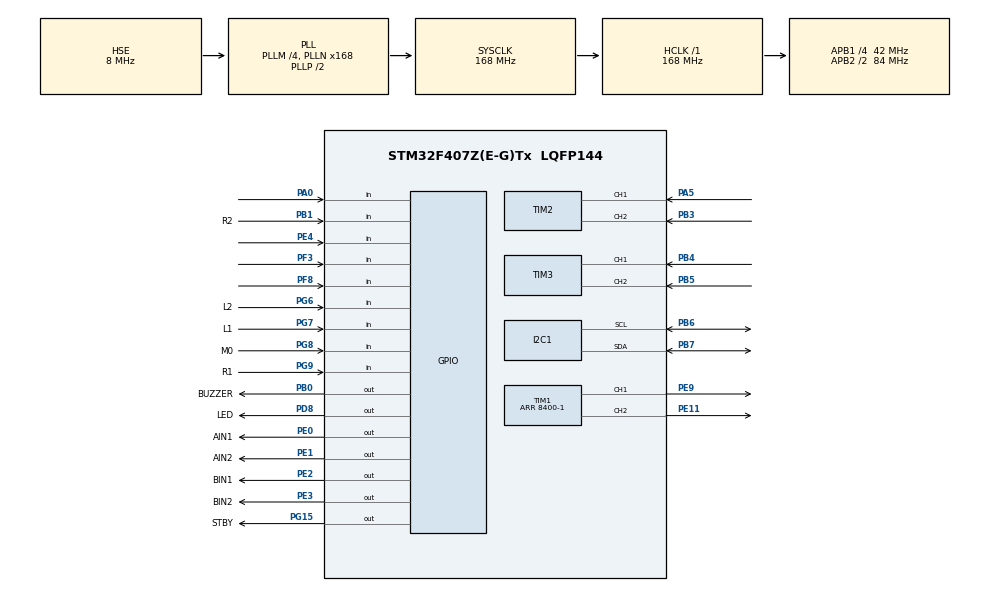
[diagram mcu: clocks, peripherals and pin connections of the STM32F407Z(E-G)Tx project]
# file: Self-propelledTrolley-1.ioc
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Mcu.Family=STM32F4
Mcu.Name=STM32F407Z(E-G)Tx
Mcu.Package=LQFP144
NVIC.PriorityGroup=NVIC_PRIORITYGROUP_4
NVIC.TIM6_DAC_IRQn=true\:0\:0\:false\:false\:true\:true\:true\:true
NVIC.TIM7_IRQn=true\:0\:0\:false\:false\:true\:true\:true\:true
PA0-WKUP.GPIO_Mode=GPIO_MODE_INPUT
PA0-WKUP.GPIO_PuPd=GPIO_PULLDOWN
PA0-WKUP.Signal=GPIO_Input
PA13.Mode=Serial_Wire
PA13.Signal=SYS_JTMS-SWDIO
PA14.Mode=Serial_Wire
PA14.Signal=SYS_JTCK-SWCLK
PA5.Signal=S_TIM2_CH1_ETR
PB0.GPIO_Label=BUZZER
PB0.GPIO_PuPd=GPIO_PULLDOWN
PB0.GPIO_Speed=GPIO_SPEED_FREQ_HIGH
PB0.Signal=GPIO_Output
PB1.GPIO_Label=R2
PB1.GPIO_Mode=GPIO_MODE_INPUT
PB1.GPIO_PuPd=GPIO_NOPULL
PB1.Signal=GPIO_Input
PB3.Signal=S_TIM2_CH2
PB4.Signal=S_TIM3_CH1
PB5.Signal=S_TIM3_CH2
PB6.Mode=I2C
PB6.Signal=I2C1_SCL
PB7.Mode=I2C
PB7.Signal=I2C1_SDA
PC14-OSC32_IN.Mode=LSE-External-Oscillator
PC14-OSC32_IN.Signal=RCC_OSC32_IN
PC15-OSC32_OUT.Mode=LSE-External-Oscillator
PC15-OSC32_OUT.Signal=RCC_OSC32_OUT
PD8.GPIO_Label=LED
PD8.GPIO_PuPd=GPIO_PULLUP
PD8.GPIO_Speed=GPIO_SPEED_FREQ_HIGH
PD8.PinState=GPIO_PIN_SET
PD8.Signal=GPIO_Output
PE0.GPIO_Label=AIN1
PE0.GPIO_PuPd=GPIO_NOPULL
PE0.GPIO_Speed=GPIO_SPEED_FREQ_HIGH
PE0.PinState=GPIO_PIN_RESET
PE0.Signal=GPIO_Output
PE1.GPIO_Label=AIN2
PE1.GPIO_PuPd=GPIO_NOPULL
PE1.GPIO_Speed=GPIO_SPEED_FREQ_HIGH
PE1.PinState=GPIO_PIN_RESET
PE1.Signal=GPIO_Output
PE11.Signal=S_TIM1_CH2
PE2.GPIO_Label=BIN1
PE2.GPIO_PuPd=GPIO_NOPULL
PE2.GPIO_Speed=GPIO_SPEED_FREQ_HIGH
PE2.PinState=GPIO_PIN_RESET
PE2.Signal=GPIO_Output
PE3.GPIO_Label=BIN2
PE3.GPIO_PuPd=GPIO_NOPULL
PE3.GPIO_Speed=GPIO_SPEED_FREQ_HIGH
PE3.PinState=GPIO_PIN_RESET
PE3.Signal=GPIO_Output
PE4.GPIO_Mode=GPIO_MODE_INPUT
PE4.GPIO_PuPd=GPIO_PULLDOWN
PE4.Signal=GPIO_Input
PE9.Signal=S_TIM1_CH1
PF3.GPIO_Mode=GPIO_MODE_INPUT
PF3.GPIO_PuPd=GPIO_PULLDOWN
PF3.Signal=GPIO_Input
PF8.GPIO_Mode=GPIO_MODE_INPUT
PF8.GPIO_PuPd=GPIO_PULLDOWN
PF8.Signal=GPIO_Input
PG15.GPIO_Label=STBY
PG15.GPIO_PuPd=GPIO_NOPULL
PG15.GPIO_Speed=GPIO_SPEED_FREQ_HIGH
PG15.PinState=GPIO_PIN_SET
PG15.Signal=GPIO_Output
PG6.GPIO_Label=L2
PG6.GPIO_Mode=GPIO_MODE_INPUT
PG6.GPIO_PuPd=GPIO_NOPULL
PG6.Signal=GPIO_Input
PG7.GPIO_Label=L1
PG7.GPIO_Mode=GPIO_MODE_INPUT
PG7.GPIO_PuPd=GPIO_NOPULL
PG7.Signal=GPIO_Input
PG8.GPIO_Label=M0
PG8.GPIO_Mode=GPIO_MODE_INPUT
PG8.GPIO_PuPd=GPIO_NOPULL
PG8.Signal=GPIO_Input
PG9.GPIO_Label=R1
PG9.GPIO_Mode=GPIO_MODE_INPUT
PG9.GPIO_PuPd=GPIO_PULLDOWN
PG9.Signal=GPIO_Input
PH0-OSC_IN.Mode=HSE-External-Oscillator
PH0-OSC_IN.Signal=RCC_OSC_IN
PH1-OSC_OUT.Mode=HSE-External-Oscillator
PH1-OSC_OUT.Signal=RCC_OSC_OUT
ProjectManager.HeapSize=0x200
ProjectManager.StackSize=0x400
ProjectManager.TargetToolchain=MDK-ARM V5.32
RCC.48MHZClocksFreq_Value=84000000
RCC.AHBFreq_Value=168000000
RCC.APB1CLKDivider=RCC_HCLK_DIV4
RCC.APB1Freq_Value=42000000
RCC.APB1TimFreq_Value=84000000
RCC.APB2CLKDivider=RCC_HCLK_DIV2
RCC.APB2Freq_Value=84000000
RCC.APB2TimFreq_Value=168000000
RCC.CortexFreq_Value=168000000
RCC.HCLKFreq_Value=168000000
RCC.HSE_VALUE=8000000
RCC.HSI_VALUE=16000000
RCC.PLLM=4
RCC.PLLN=168
RCC.PLLSourceVirtual=RCC_PLLSOURCE_HSE
RCC.SYSCLKFreq_VALUE=168000000
RCC.SYSCLKSource=RCC_SYSCLKSOURCE_PLLCLK
RCC.VCOOutputFreq_Value=336000000
SH.S_TIM1_CH1.0=TIM1_CH1,PWM Generation1 CH1
SH.S_TIM1_CH2.0=TIM1_CH2,PWM Generation2 CH2
SH.S_TIM2_CH1_ETR.0=TIM2_CH1,Encoder_Interface
SH.S_TIM2_CH2.0=TIM2_CH2,Encoder_Interface
SH.S_TIM3_CH1.0=TIM3_CH1,Encoder_Interface
SH.S_TIM3_CH2.0=TIM3_CH2,Encoder_Interface
TIM1.Channel-PWM\ Generation1\ CH1=TIM_CHANNEL_1
TIM1.Channel-PWM\ Generation2\ CH2=TIM_CHANNEL_2
TIM1.Period=8400-1
TIM2.EncoderMode=TIM_ENCODERMODE_TI12
TIM3.EncoderMode=TIM_ENCODERMODE_TI12
TIM6.AutoReloadPreload=TIM_AUTORELOAD_PRELOAD_ENABLE
TIM6.Period=10000-1
TIM6.Prescaler=84-1
TIM7.AutoReloadPreload=TIM_AUTORELOAD_PRELOAD_ENABLE
TIM7.Period=10000-1
TIM7.Prescaler=84-1
VP_TIM1_VS_ClockSourceINT.Mode=Internal
VP_TIM6_VS_ClockSourceINT.Mode=Enable_Timer
VP_TIM7_VS_ClockSourceINT.Mode=Enable_Timer
board=custom

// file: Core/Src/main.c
/* USER CODE BEGIN Header */
/**
  ******************************************************************************
  * @file           : main.c
  * @brief          : Main program body
  ******************************************************************************
  * @attention
  *
  * Copyright (c) 2024 STMicroelectronics.
  * All rights reserved.
  *
  * This software is licensed under terms that can be found in the LICENSE file
  * in the root directory of this software component.
  * If no LICENSE file comes with this software, it is provided AS-IS.
  *
  ******************************************************************************
  */
/* USER CODE END Header */
#include "main.h"
#include "i2c.h"
#include "tim.h"
#include "gpio.h"

/* USER CODE BEGIN PV */
bool alarm_flag = 0;
bool Double_pid = 0, Position_pid = 0, Velocity_pid = 0;

uint8_t task[5];
uint8_t task4_cnt = 0;
/* USER CODE END PV */

void SystemClock_Config(void);

/* USER CODE BEGIN 0 */
void Peripheral_Init(void)
{
    LED_OFF;
    Buzzer_OFF;

    MotorStart;

    OLED_Init();

    HAL_TIM_Base_Start_IT(&htim6);                  // 10ms -- 电机PID
    HAL_TIM_Base_Start_IT(&htim7);                  // 10ms

    HAL_TIM_PWM_Start(&htim1, TIM_CHANNEL_1);       // PWMA
    HAL_TIM_PWM_Start(&htim1, TIM_CHANNEL_2);       // PWMB

    HAL_TIM_Encoder_Start(&htim2, TIM_CHANNEL_1);   // A_A
    HAL_TIM_Encoder_Start(&htim2, TIM_CHANNEL_2);   // A_B
    HAL_TIM_Encoder_Start(&htim3, TIM_CHANNEL_1);   // B_A
    HAL_TIM_Encoder_Start(&htim3, TIM_CHANNEL_2);   // B_B
}
void alarm_proc(void)
{
    if (alarm_flag)
    {
        LED_ON;
        Buzzer_ON;
    }
    else
    {
        LED_OFF;
        Buzzer_OFF;
    }
}
void key_proc(void)
{
    if (key[1].short_flag)
    {
        task[1] = 1;
        key[1].short_flag = 0;
    }
    else if (key[2].short_flag)
    {
        task[2] = 1;
        key[2].short_flag = 0;
    }
    else if (key[3].short_flag)
    {
        task[3] = 1;
        key[3].short_flag = 0;
    }
    else if (key[4].short_flag)
    {
        task[4] = 1;
        key[4].short_flag = 0;
    }
}
void function_proc(void)
{
    switch (task[1])
    {
        case 1:
        {
            Velocity_pid = 1;
            Target_VelocityR = Rpm_Encoder_Cnt(80);
            Target_VelocityL = Rpm_Encoder_Cnt(80);
            if (L2||L1||M0||R1||R2)
                task[1] = 2;
        }break;
        case 2:
        {
            Velocity_pid = 0;
            MotorStop;
            alarm_flag = 1;
            task[1] = 0;
        }break;
    }
    switch (task[2])
    {
        case 1:
        {
            Velocity_pid = 1;
            Target_VelocityR = Rpm_Encoder_Cnt(80);
            Target_VelocityL = Rpm_Encoder_Cnt(80);
            if (L2||L1||M0||R1||R2)
                task[2] = 2;
        }break;
        case 2:
        {
            MotorStop;
            alarm_flag = 1;
            Velocity_pid = 0;
            task[2] = 3;
        }break;
        case 3:
        {
            MotorStart;
            Double_pid = 1;
            Target_VelocityR = Rpm_Encoder_Cnt(67.6);
            Target_VelocityL = Rpm_Encoder_Cnt(91.4);
            Target_PositionR = Num_Encoder_Cnt(5.2);
            Target_PositionL = Num_Encoder_Cnt(7.0);
            if (Reality_PositionR >= 291000)
                task[2] = 4;
        }break;
        case 4:
        {
            Double_pid = 0;
            MotorStop;
            task[2] = 5;
        }break;
        case 5:
        {
            alarm_flag = 1;
            task[2] = 6;
        }break;
        case 6:
        {
            MotorStart;
            Velocity_pid = 1;
            Target_VelocityR = Rpm_Encoder_Cnt(80);
            Target_VelocityL = Rpm_Encoder_Cnt(80);
            if (L2||L1||M0||R1||R2)
                task[2] = 7;
        }break;
        case 7:
        {
            Motor_Stop();
            alarm_flag = 1;
            Velocity_pid = 0;
            task[2] = 8;
        }break;
        case 8:
        {
            MotorStart;
            Double_pid = 1;
            Target_VelocityR = Rpm_Encoder_Cnt(67.6);
            Target_VelocityL = Rpm_Encoder_Cnt(91.4);
            Target_PositionR = Num_Encoder_Cnt(5.2);
            Target_PositionL = Num_Encoder_Cnt(7.0);
            if (Reality_PositionR >= 291000)
                task[2] = 9;
        }break;
        case 9:
        {
            Double_pid = 0;
            MotorStop;
            alarm_flag = 1;
            task[2] = 0;
        }break;
    }
    switch (task[3])
     {
        case 1:
        {
            LED_ON;
            Double_pid = 1;
            Target_PositionR = Num_Encoder_Cnt(28/20.41f);
            Target_PositionL = Num_Encoder_Cnt(28/20.41f);
            Target_VelocityR = Rpm_Encoder_Cnt(80);
            Target_VelocityL = Rpm_Encoder_Cnt(80);
            if (((Reality_PositionR + Reality_PositionL) / 2) >= (28/20.41f*56000))
            {
                Double_pid = 0;
                Motor_Stop();
                task[3] = 2;
            }
        }break;
        case 2:
        {
            LED_OFF;
            MotorStart;
            Double_pid = 1;
            Target_PositionR = Num_Encoder_Cnt(51.653f/20.41f);
            Target_PositionL = Num_Encoder_Cnt(73.947f/20.41f);
            Target_VelocityR = Rpm_Encoder_Cnt(65.8f);
            Target_VelocityL = Rpm_Encoder_Cnt(94.2f);
            if (Reality_PositionR >= (51.653f/20.41f*56000))
            {
                Double_pid = 0;
                Motor_Stop();
                task[3] = 3;
            }
        }break;
        case 3:
        {
            LED_ON;
            MotorStart;
            Double_pid = 1;
            Target_PositionR = Num_Encoder_Cnt(73.947f/20.41f);
            Target_PositionL = Num_Encoder_Cnt(51.653f/20.41f);
            Target_VelocityR = Rpm_Encoder_Cnt(94.2f);
            Target_VelocityL = Rpm_Encoder_Cnt(65.8f);
            if (Reality_PositionL >= (51.653f/20.41f*56000))
            {
                Double_pid = 0;
                Motor_Stop();
                task[3] = 4;
            }
        }break;
        case 4:
        {
            alarm_flag = 1;
            LED_OFF;
            MotorStart;
            Double_pid = 1;
            Target_VelocityR = Rpm_Encoder_Cnt(89.2f);
            Target_VelocityL = Rpm_Encoder_Cnt(65.8f);
            Target_PositionR = Num_Encoder_Cnt(140.894f/20.41f);
            Target_PositionL = Num_Encoder_Cnt(103.306f/20.41f);
            if (Reality_PositionR >= 384000 / 10)
                alarm_flag = 0;
            if ((Reality_PositionR >= 384000) && (Reality_PositionL >= 283000))
            {
                alarm_flag = 1;
                Double_pid = 0;
                Motor_Stop();
                task[3] = 5;
            }
        }break;
        case 5:
        {
            LED_ON;
            MotorStart;
            Double_pid = 1;
            Target_PositionR = Num_Encoder_Cnt(15/20.41f);
            Target_PositionL = Num_Encoder_Cnt(15/20.41f);
            Target_VelocityR = Rpm_Encoder_Cnt(80);
            Target_VelocityL = Rpm_Encoder_Cnt(80);
            if (((Reality_PositionR + Reality_PositionL) / 2) >= (15/20.41f*56000))
            {
                Double_pid = 0;
                OLED_ShowSignedNum(4, 1, Reality_PositionL, 10);
                Motor_Stop();
                task[3] = 6;
            }
        }break;
        case 6:
        {
            LED_OFF;
            MotorStart;
            Double_pid = 1;
            Target_PositionR = Num_Encoder_Cnt(69.947f/20.41f);
            Target_PositionL = Num_Encoder_Cnt(51.653f/20.41f);
            Target_VelocityR = Rpm_Encoder_Cnt(94.2f);
            Target_VelocityL = Rpm_Encoder_Cnt(65.8f);
            if (Reality_PositionL >= (51.653f/20.41f*56000))
            {
                Double_pid = 0;
                Motor_Stop();
                task[3] = 7;
            }
        }break;
        case 7:
        {
            LED_ON;
            MotorStart;
            Double_pid = 1;
            Target_PositionR = Num_Encoder_Cnt(53.653f/20.41f);
            Target_PositionL = Num_Encoder_Cnt(73.947f/20.41f);
            Target_VelocityR = Rpm_Encoder_Cnt(65.8f);
            Target_VelocityL = Rpm_Encoder_Cnt(94.2f);
            if (Reality_PositionR >= (53.653f/20.41f*56000))
            {
                alarm_flag = 1;
                Double_pid = 0;
                Motor_Stop();
                task[3] = 8;
            }
        }break;
        case 8:
        {
            MotorStart;
            Double_pid = 1;
            Target_VelocityR = Rpm_Encoder_Cnt(67.6);
            Target_VelocityL = Rpm_Encoder_Cnt(91.4);
            Target_PositionR = Num_Encoder_Cnt(5.2);
            Target_PositionL = Num_Encoder_Cnt(7.0);
            if (Reality_PositionR >= 291000)
                task[3] = 9;
        }break;
        case 9:
        {
            Double_pid = 0;
            MotorStop;
            alarm_flag = 1;
            task[3] = 0;
        }break;
    }
    switch (task[4])
    {
        case 1:
        {
            task4_cnt += 1;
            LED_ON;
            Double_pid = 1;
            Target_PositionR = Num_Encoder_Cnt(28/20.41f);
            Target_PositionL = Num_Encoder_Cnt(28/20.41f);
            Target_VelocityR = Rpm_Encoder_Cnt(80);
            Target_VelocityL = Rpm_Encoder_Cnt(80);
            if (((Reality_PositionR + Reality_PositionL) / 2) >= (28/20.41f*56000))
            {
                Double_pid = 0;
                Motor_Stop();
                task[4] = 2;
            }
        }break;
        case 2:
        {
            LED_OFF;
            MotorStart;
            Double_pid = 1;
            Target_PositionR = Num_Encoder_Cnt(51.653f/20.41f);
            Target_PositionL = Num_Encoder_Cnt(73.947f/20.41f);
            Target_VelocityR = Rpm_Encoder_Cnt(65.8f);
            Target_VelocityL = Rpm_Encoder_Cnt(94.2f);
            if (Reality_PositionR >= (51.653f/20.41f*56000))
            {
                Double_pid = 0;
                Motor_Stop();
                task[4] = 3;
            }
        }break;
        case 3:
        {
            LED_ON;
            MotorStart;
            Double_pid = 1;
            Target_PositionR = Num_Encoder_Cnt(73.947f/20.41f);
            Target_PositionL = Num_Encoder_Cnt(51.653f/20.41f);
            Target_VelocityR = Rpm_Encoder_Cnt(94.2f);
            Target_VelocityL = Rpm_Encoder_Cnt(65.8f);
            if (Reality_PositionL >= (51.653f/20.41f*56000))
            {
                Double_pid = 0;
                Motor_Stop();
                task[4] = 4;
            }
        }break;
        case 4:
        {
            alarm_flag = 1;
            LED_OFF;
            MotorStart;
            Double_pid = 1;
            Target_VelocityR = Rpm_Encoder_Cnt(89.2f);
            Target_VelocityL = Rpm_Encoder_Cnt(65.8f);
            Target_PositionR = Num_Encoder_Cnt(140.894f/20.41f);
            Target_PositionL = Num_Encoder_Cnt(103.306f/20.41f);
            if (Reality_PositionR >= 384000 / 10)
                alarm_flag = 0;
            if ((Reality_PositionR >= 384000) && (Reality_PositionL >= 283000))
            {
                alarm_flag = 1;
                Double_pid = 0;
                Motor_Stop();
                task[4] = 5;
            }
        }break;
        case 5:
        {
            LED_ON;
            MotorStart;
            Double_pid = 1;
            Target_PositionR = Num_Encoder_Cnt(15/20.41f);
            Target_PositionL = Num_Encoder_Cnt(15/20.41f);
            Target_VelocityR = Rpm_Encoder_Cnt(80);
            Target_VelocityL = Rpm_Encoder_Cnt(80);
            if (((Reality_PositionR + Reality_PositionL) / 2) >= (15/20.41f*56000))
            {
                Double_pid = 0;
                OLED_ShowSignedNum(4, 1, Reality_PositionL, 10);
                Motor_Stop();
                task[4] = 6;
            }
        }break;
        case 6:
        {
            LED_OFF;
            MotorStart;
            Double_pid = 1;
            Target_PositionR = Num_Encoder_Cnt(69.947f/20.41f);
            Target_PositionL = Num_Encoder_Cnt(51.653f/20.41f);
            Target_VelocityR = Rpm_Encoder_Cnt(94.2f);
            Target_VelocityL = Rpm_Encoder_Cnt(65.8f);
            if (Reality_PositionL >= (51.653f/20.41f*56000))
            {
                Double_pid = 0;
                Motor_Stop();
                task[4] = 7;
            }
        }break;
        case 7:
        {
            LED_ON;
            MotorStart;
            Double_pid = 1;
            Target_PositionR = Num_Encoder_Cnt(53.653f/20.41f);
            Target_PositionL = Num_Encoder_Cnt(73.947f/20.41f);
            Target_VelocityR = Rpm_Encoder_Cnt(65.8f);
            Target_VelocityL = Rpm_Encoder_Cnt(94.2f);
            if (Reality_PositionR >= (53.653f/20.41f*56000))
            {
                alarm_flag = 1;
                Double_pid = 0;
                Motor_Stop();
                task[4] = 8;
            }
        }break;
        case 8:
        {
            MotorStart;
            Double_pid = 1;
            Target_VelocityR = Rpm_Encoder_Cnt(67.6);
            Target_VelocityL = Rpm_Encoder_Cnt(91.4);
            Target_PositionR = Num_Encoder_Cnt(4.7);
            Target_PositionL = Num_Encoder_Cnt(6.5);
            if (Reality_PositionR >= 256000)
                task[4] = 9;
        }break;
        case 9:
        {
            Double_pid = 0;
            MotorStop;
            alarm_flag = 1;
            if (task4_cnt >= 1)
                task[4] = 0;
            else
                task[4] = 1;
        }break;
    }
}
/* USER CODE END 0 */

int main(void)
{

  /* MCU Configuration--------------------------------------------------------*/

  /* Reset of all peripherals, Initializes the Flash interface and the Systick. */
  HAL_Init();

  /* Configure the system clock */
  SystemClock_Config();

  /* Initialize all configured peripherals */
  MX_GPIO_Init();
  MX_I2C1_Init();
  MX_TIM1_Init();
  MX_TIM2_Init();
  MX_TIM3_Init();
  MX_TIM6_Init();
  MX_TIM7_Init();
  /* USER CODE BEGIN 2 */
  Peripheral_Init();
  /* USER CODE END 2 */

  /* Infinite loop */
  while (1)
  {

    /* USER CODE BEGIN 3 */
      key_proc();
      alarm_proc();
      function_proc();
  }
  /* USER CODE END 3 */
}

void SystemClock_Config(void)
{
  RCC_OscInitTypeDef RCC_OscInitStruct = {0};
  RCC_ClkInitTypeDef RCC_ClkInitStruct = {0};

  /** Configure the main internal regulator output voltage
  */
  __HAL_RCC_PWR_CLK_ENABLE();
  __HAL_PWR_VOLTAGESCALING_CONFIG(PWR_REGULATOR_VOLTAGE_SCALE1);

  /** Initializes the RCC Oscillators according to the specified parameters
  * in the RCC_OscInitTypeDef structure.
  */
  RCC_OscInitStruct.OscillatorType = RCC_OSCILLATORTYPE_HSE;
  RCC_OscInitStruct.HSEState = RCC_HSE_ON;
  RCC_OscInitStruct.PLL.PLLState = RCC_PLL_ON;
  RCC_OscInitStruct.PLL.PLLSource = RCC_PLLSOURCE_HSE;
  RCC_OscInitStruct.PLL.PLLM = 4;
  RCC_OscInitStruct.PLL.PLLN = 168;
  RCC_OscInitStruct.PLL.PLLP = RCC_PLLP_DIV2;
  RCC_OscInitStruct.PLL.PLLQ = 4;
  if (HAL_RCC_OscConfig(&RCC_OscInitStruct) != HAL_OK)
  {
    Error_Handler();
  }

  /** Initializes the CPU, AHB and APB buses clocks
  */
  RCC_ClkInitStruct.ClockType = RCC_CLOCKTYPE_HCLK|RCC_CLOCKTYPE_SYSCLK
                              |RCC_CLOCKTYPE_PCLK1|RCC_CLOCKTYPE_PCLK2;
  RCC_ClkInitStruct.SYSCLKSource = RCC_SYSCLKSOURCE_PLLCLK;
  RCC_ClkInitStruct.AHBCLKDivider = RCC_SYSCLK_DIV1;
  RCC_ClkInitStruct.APB1CLKDivider = RCC_HCLK_DIV4;
  RCC_ClkInitStruct.APB2CLKDivider = RCC_HCLK_DIV2;

  if (HAL_RCC_ClockConfig(&RCC_ClkInitStruct, FLASH_LATENCY_5) != HAL_OK)
  {
    Error_Handler();
  }
}

/* USER CODE BEGIN 4 */
void HAL_TIM_PeriodElapsedCallback(TIM_HandleTypeDef *htim)
{
    static int Motor_R = 0, Motor_L = 0;
    static int alarm_cnt = 0;
    if (htim -> Instance == TIM6)
    {
        key_serv();

        if (alarm_flag)
        {
            alarm_cnt++;
            if (alarm_cnt >= 20)    // 500ms
            {
                alarm_flag = 0;
                alarm_cnt = 0;
            }
        }
    }
    if (htim -> Instance == TIM7)
    {
        if (Double_pid)
        {
            Reality_VelocityR = Read_Encoder(2);
            Reality_VelocityL = -Read_Encoder(3);
            Reality_PositionR += Reality_VelocityR;
            Reality_PositionL += Reality_VelocityL;

            Motor_R = Position_PID_R(Reality_PositionR, Target_PositionR);
            Motor_R = Xianfu(Motor_R, Target_VelocityR);
            Motor_L = Position_PID_L(Reality_PositionL, Target_PositionL);
            Motor_L = Xianfu(Motor_L, Target_VelocityL);

            if (Myabs(Reality_PositionR - Target_PositionR) < 3)
                SetPwm_R(0);
            else
            {
                Motor_R = Incremental_PID_R(Reality_VelocityR, Motor_R);
                SetPwm_R(Motor_R);
            }
            if (Myabs(Reality_PositionL - Target_PositionL) < 3)
                SetPwm_L(0);
            else
            {
                Motor_L = Incremental_PID_L(Reality_VelocityL, Motor_L);
                SetPwm_L(Motor_L);
            }
        }
        else if (Position_pid)
        {
            Reality_PositionR += Read_Encoder(2);
            Reality_PositionL += (-Read_Encoder(3));
            if (Target_PositionR == Reality_PositionR)
                SetPwm_R(0);
            else
            {
                Motor_R = Position_PID_R(Reality_PositionR, Target_PositionR);
                SetPwm_R(Motor_R);
            }
            if (Target_PositionL == Reality_PositionL)
                SetPwm_L(0);
            else
            {
                Motor_L = Position_PID_L(Reality_PositionL, Target_PositionL);
                SetPwm_L(Motor_L);
            }
        }
        else if (Velocity_pid)
        {
            Reality_VelocityR = Read_Encoder(2);
            Reality_VelocityL = -Read_Encoder(3);
            if ((Target_VelocityR == 0) && (Myabs(Reality_VelocityR) < 5))
                PWMA = 0;
            else
            {
                Motor_R = Incremental_PID_R(Reality_VelocityR, Target_VelocityR);
                SetPwm_R(Motor_R);
            }
            if ((Target_VelocityL == 0) && (Myabs(Reality_VelocityL) < 5))
                PWMB = 0;
            else
            {
                Motor_L = Incremental_PID_L(Reality_VelocityL, Target_VelocityL);
                SetPwm_L(Motor_L);
            }
        }
    }
}
/* USER CODE END 4 */

void Error_Handler(void)
{
  __disable_irq();
  while (1)
  {
  }
}
